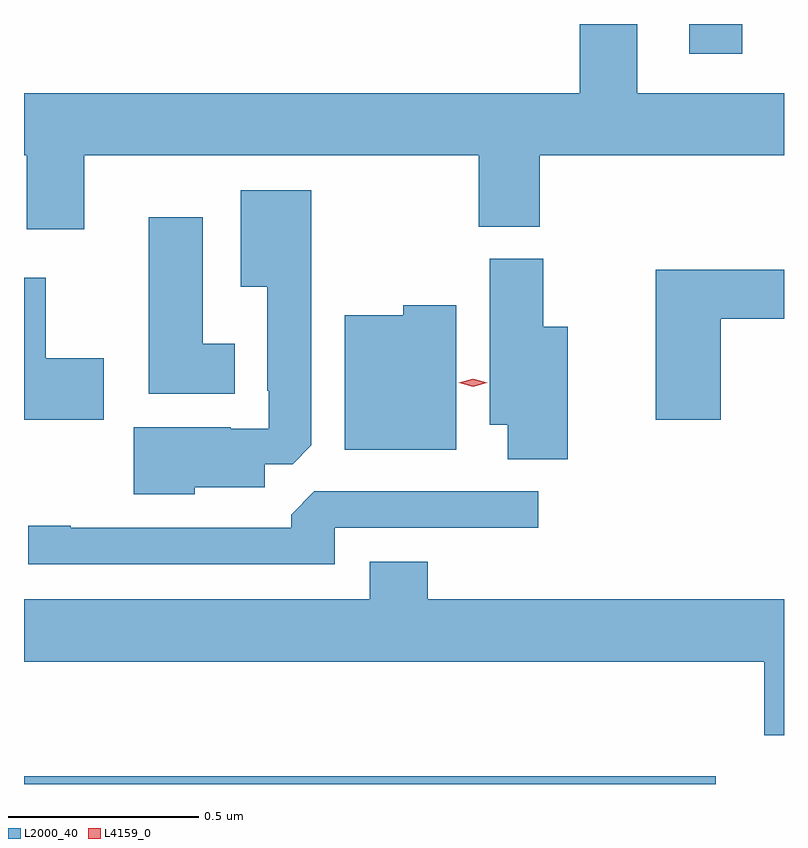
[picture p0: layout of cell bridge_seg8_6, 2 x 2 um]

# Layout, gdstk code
import gdstk
lib = gdstk.Library(unit=1e-6, precision=1e-09)
def R(c, l, rs):  # rectangles x0, y0, x1, y1
    for r in rs: c.add(gdstk.rectangle(r[:2], r[2:], *l))
def P(c, l, *ps):  # polygons
    for p in ps: c.add(gdstk.Polygon(p, *l))
L2000_40 = (2000, 40)
L4159_0 = (4159, 0)

bridge_seg8_6 = lib.new_cell('bridge_seg8_6')
R(bridge_seg8_6, L2000_40, [(949.561,1154.806,951.382,1154.827), (951.311,1156.728,951.451,1156.806)])
P(bridge_seg8_6, L2000_40, [(951.023,1156.806),(951.023,1156.624),(949.561,1156.624),(949.561,1156.46),(949.568,1156.46),(949.568,1156.266),(949.72,1156.266),(949.72,1156.46),(950.758,1156.46),(950.758,1156.273),(950.918,1156.273),(950.918,1156.46),(951.561,1156.46),(951.561,1156.624),(951.175,1156.624),(951.175,1156.806)],
  [(950.01,1155.587),(950.194,1155.587),(950.194,1155.648),(950.268,1155.648),(950.317,1155.697),(950.317,1156.369),(950.132,1156.369),(950.132,1156.115),(950.201,1156.115),(950.201,1155.841),(950.205,1155.841),(950.205,1155.741),(950.105,1155.741),(950.105,1155.745),(949.85,1155.745),(949.85,1155.569),(950.01,1155.569)],
  [(950.116,1155.964),(950.032,1155.964),(950.032,1156.297),(949.889,1156.297),(949.889,1155.833),(950.116,1155.833)],
  [(950.992,1156.009),(950.928,1156.009),(950.928,1156.188),(950.786,1156.188),(950.786,1155.752),(950.834,1155.752),(950.834,1155.661),(950.992,1155.661)],
  [(951.395,1156.03),(951.561,1156.03),(951.561,1156.159),(951.224,1156.159),(951.224,1155.765),(951.395,1155.765)],
  [(949.771,1155.927),(949.618,1155.927),(949.618,1156.138),(949.561,1156.138),(949.561,1155.764),(949.771,1155.764)],
  [(950.698,1156.066),(950.559,1156.066),(950.559,1156.039),(950.405,1156.039),(950.405,1155.686),(950.698,1155.686)],
  [(950.379,1155.48),(950.914,1155.48),(950.914,1155.576),(950.325,1155.576),(950.264,1155.514),(950.264,1155.48),(949.684,1155.48),(949.684,1155.485),(949.572,1155.485),(949.572,1155.384),(950.379,1155.384)],
  [(951.561,1155.292),(950.624,1155.292),(950.624,1155.391),(950.471,1155.391),(950.471,1155.292),(949.561,1155.292),(949.561,1155.128),(951.509,1155.128),(951.509,1154.934),(951.561,1154.934)])
P(bridge_seg8_6, L4159_0, [(950.743,1155.852),(950.705,1155.862),(950.705,1155.862),(950.705,1155.862),(950.743,1155.872),(950.78,1155.862),(950.78,1155.862),(950.78,1155.862)])

lib.write_gds('bridge_seg8_6.gds')
